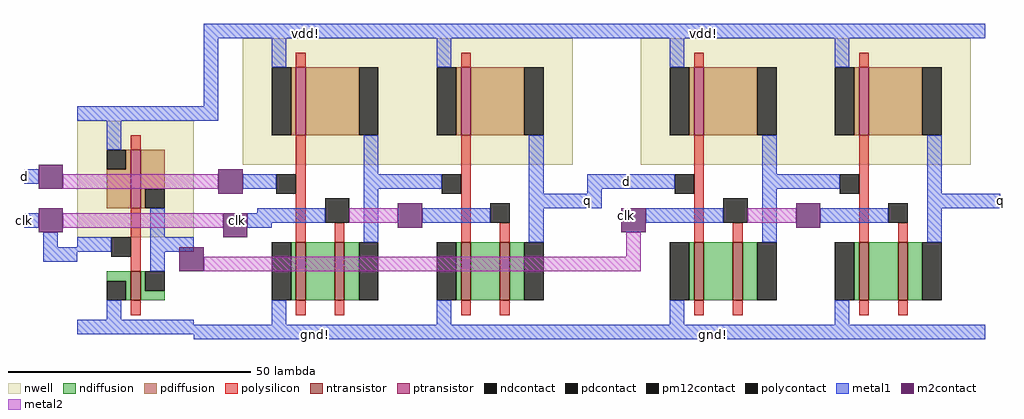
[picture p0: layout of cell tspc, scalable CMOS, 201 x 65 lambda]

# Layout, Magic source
magic
tech scmos
<< nwell >>
rect -82 29 -14 55
rect 0 29 68 55
<< ntransistor >>
rect -71 1 -69 13
rect -63 1 -61 13
rect -37 1 -35 13
rect -29 1 -27 13
rect 11 1 13 13
rect 19 1 21 13
rect 45 1 47 13
rect 53 1 55 13
<< ptransistor >>
rect -71 35 -69 49
rect -37 35 -35 49
rect 11 35 13 49
rect 45 35 47 49
<< ndiffusion >>
rect -72 1 -71 13
rect -69 1 -63 13
rect -61 1 -58 13
rect -38 1 -37 13
rect -35 1 -29 13
rect -27 1 -24 13
rect 10 1 11 13
rect 13 1 19 13
rect 21 1 24 13
rect 44 1 45 13
rect 47 1 53 13
rect 55 1 58 13
<< pdiffusion >>
rect -72 35 -71 49
rect -69 35 -58 49
rect -38 35 -37 49
rect -35 35 -24 49
rect 10 35 11 49
rect 13 35 24 49
rect 44 35 45 49
rect 47 35 58 49
<< ndcontact >>
rect -76 1 -72 13
rect -58 1 -54 13
rect -42 1 -38 13
rect -24 1 -20 13
rect 6 1 10 13
rect 24 1 28 13
rect 40 1 44 13
rect 58 1 62 13
<< pdcontact >>
rect -76 35 -72 49
rect -58 35 -54 49
rect -42 35 -38 49
rect -24 35 -20 49
rect 6 35 10 49
rect 24 35 28 49
rect 40 35 44 49
rect 58 35 62 49
<< polysilicon >>
rect -71 49 -69 52
rect -37 49 -35 52
rect 11 49 13 52
rect 45 49 47 52
rect -71 13 -69 35
rect -63 13 -61 17
rect -37 13 -35 35
rect -29 13 -27 17
rect 11 13 13 35
rect 19 13 21 17
rect 45 13 47 35
rect 53 13 55 17
rect -71 -2 -69 1
rect -63 -2 -61 1
rect -37 -2 -35 1
rect -29 -2 -27 1
rect 11 -2 13 1
rect 19 -2 21 1
rect 45 -2 47 1
rect 53 -2 55 1
<< polycontact >>
rect -75 23 -71 27
rect -41 23 -37 27
rect 7 23 11 27
rect -31 17 -27 21
rect 41 23 45 27
rect 51 17 55 21
<< metal1 >>
rect -90 55 71 58
rect -90 41 -87 55
rect -92 38 -87 41
rect -76 49 -73 55
rect -42 49 -39 55
rect 6 49 9 55
rect 40 49 43 55
rect -127 25 -124 28
rect -57 27 -54 35
rect -82 24 -75 27
rect -57 24 -41 27
rect -127 16 -124 19
rect -79 19 -65 20
rect -123 12 -120 15
rect -81 17 -65 19
rect -81 16 -76 17
rect -57 13 -54 24
rect -23 23 -20 35
rect 25 27 28 35
rect -11 24 7 27
rect -11 23 -8 24
rect 25 24 41 27
rect -45 17 -31 20
rect -23 20 -8 23
rect -23 13 -20 20
rect 1 17 17 20
rect 25 13 28 24
rect 59 23 62 35
rect 37 17 51 20
rect 59 20 74 23
rect 59 13 62 20
rect -123 9 -116 12
rect -76 -4 -73 1
rect -42 -4 -39 1
rect 6 -4 9 1
rect 40 -4 43 1
rect -92 -7 71 -4
<< m2contact >>
rect -124 24 -119 29
rect -87 23 -82 28
rect -124 15 -119 20
rect -86 14 -81 19
rect -50 16 -45 21
rect -4 15 1 20
rect 32 16 37 21
rect -95 7 -90 12
<< pm12contact >>
rect -65 17 -60 22
rect 17 17 22 22
<< metal2 >>
rect -119 24 -87 27
rect -119 16 -86 19
rect -60 17 -50 20
rect 22 17 32 20
rect -3 10 0 15
rect -90 7 0 10
use inv  inv_0
transform 1 0 -116 0 1 8
box 0 -15 24 33
<< labels >>
rlabel m2contact -3 17 -3 20 3 clk
rlabel metal1 -3 24 -3 27 3 d
rlabel metal1 -11 20 -11 23 7 q
rlabel metal1 15 -6 15 -6 1 gnd!
rlabel metal1 -67 -6 -67 -6 1 gnd!
rlabel metal1 13 56 13 56 5 vdd!
rlabel metal1 -69 56 -69 56 5 vdd!
rlabel m2contact -83 16 -83 19 3 clk
rlabel metal1 -127 16 -127 19 3 clk
rlabel metal1 -127 25 -127 28 3 d
rlabel metal1 74 20 74 23 7 q
<< end >>

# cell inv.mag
magic
tech scmos
<< nwell >>
rect 0 6 24 30
<< ntransistor >>
rect 11 -7 13 -1
<< ptransistor >>
rect 11 12 13 24
<< ndiffusion >>
rect 6 -3 11 -1
rect 10 -7 11 -3
rect 13 -5 14 -1
rect 13 -7 18 -5
<< pdiffusion >>
rect 10 20 11 24
rect 6 12 11 20
rect 13 16 18 24
rect 13 12 14 16
<< ndcontact >>
rect 6 -7 10 -3
rect 14 -5 18 -1
<< pdcontact >>
rect 6 20 10 24
rect 14 12 18 16
<< polysilicon >>
rect 11 24 13 27
rect 11 -1 13 12
rect 11 -10 13 -7
<< polycontact >>
rect 7 2 11 6
<< metal1 >>
rect 0 30 24 33
rect 6 24 9 30
rect 15 6 18 12
rect 0 3 7 6
rect 15 3 24 6
rect 15 -1 18 3
rect 6 -11 9 -7
rect 0 -14 24 -11
<< labels >>
rlabel metal1 14 31 14 31 5 vdd!
rlabel metal1 24 3 24 6 7 op
rlabel metal1 0 3 0 6 3 in
rlabel metal1 20 -13 20 -13 1 gnd!
<< end >>
